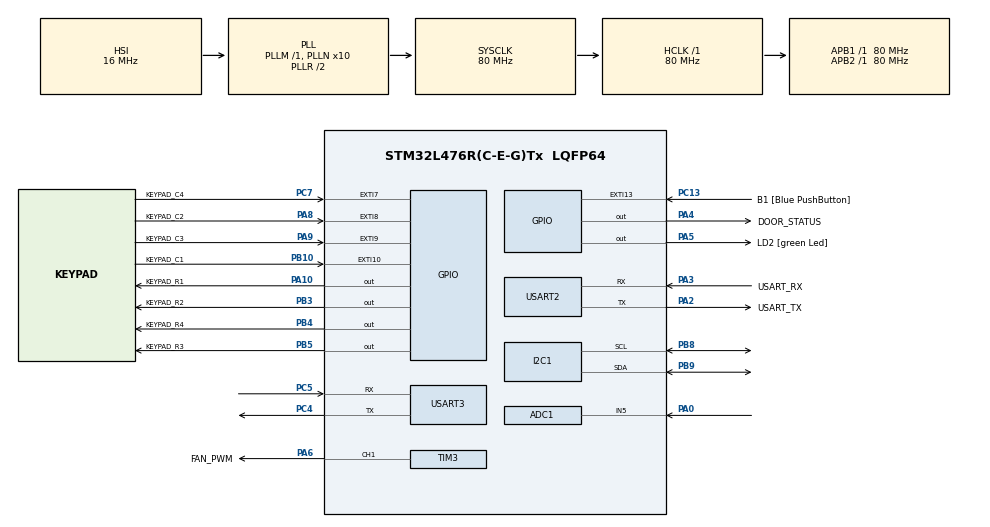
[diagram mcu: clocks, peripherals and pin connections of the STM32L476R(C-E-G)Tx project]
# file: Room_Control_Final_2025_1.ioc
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ADC1.Channel-0\#ChannelRegularConversion=ADC_CHANNEL_5
ADC1.NbrOfConversionFlag=1
ADC1.OffsetNumber-0\#ChannelRegularConversion=ADC_OFFSET_NONE
ADC1.Rank-0\#ChannelRegularConversion=1
ADC1.SamplingTime-0\#ChannelRegularConversion=ADC_SAMPLETIME_47CYCLES_5
ADC1.master=1
Dma.Request0=TIM3_CH1/TRIG
Dma.TIM3_CH1/TRIG.0.Direction=DMA_MEMORY_TO_PERIPH
Dma.TIM3_CH1/TRIG.0.Instance=DMA1_Channel6
Dma.TIM3_CH1/TRIG.0.MemDataAlignment=DMA_MDATAALIGN_WORD
Dma.TIM3_CH1/TRIG.0.MemInc=DMA_MINC_ENABLE
Dma.TIM3_CH1/TRIG.0.Mode=DMA_NORMAL
Dma.TIM3_CH1/TRIG.0.PeriphDataAlignment=DMA_PDATAALIGN_WORD
Dma.TIM3_CH1/TRIG.0.PeriphInc=DMA_PINC_DISABLE
Dma.TIM3_CH1/TRIG.0.Priority=DMA_PRIORITY_HIGH
I2C1.Timing=0x10D19CE4
Mcu.Family=STM32L4
Mcu.Name=STM32L476R(C-E-G)Tx
Mcu.Package=LQFP64
NVIC.DMA1_Channel6_IRQn=true\:2\:0\:true\:false\:true\:false\:true\:true
NVIC.EXTI15_10_IRQn=true\:3\:0\:true\:false\:true\:true\:true\:true
NVIC.EXTI9_5_IRQn=true\:3\:0\:true\:false\:true\:true\:true\:true
NVIC.PriorityGroup=NVIC_PRIORITYGROUP_4
NVIC.USART2_IRQn=true\:2\:0\:true\:false\:true\:true\:true\:true
NVIC.USART3_IRQn=true\:2\:0\:true\:false\:true\:true\:true\:true
PA0.Signal=ADCx_IN5
PA10.GPIO_Label=KEYPAD_R1
PA10.Signal=GPIO_Output
PA13\ (JTMS-SWDIO).GPIO_Label=TMS
PA13\ (JTMS-SWDIO).Mode=Serial_Wire
PA13\ (JTMS-SWDIO).Signal=SYS_JTMS-SWDIO
PA14\ (JTCK-SWCLK).GPIO_Label=TCK
PA14\ (JTCK-SWCLK).Mode=Serial_Wire
PA14\ (JTCK-SWCLK).Signal=SYS_JTCK-SWCLK
PA2.GPIO_Label=USART_TX
PA2.GPIO_Mode=GPIO_MODE_AF_PP
PA2.GPIO_PuPd=GPIO_NOPULL
PA2.GPIO_Speed=GPIO_SPEED_FREQ_VERY_HIGH
PA2.Mode=Asynchronous
PA2.Signal=USART2_TX
PA3.GPIO_Label=USART_RX
PA3.GPIO_Mode=GPIO_MODE_AF_PP
PA3.GPIO_PuPd=GPIO_NOPULL
PA3.GPIO_Speed=GPIO_SPEED_FREQ_VERY_HIGH
PA3.Mode=Asynchronous
PA3.Signal=USART2_RX
PA4.GPIO_Label=DOOR_STATUS
PA4.Signal=GPIO_Output
PA5.GPIO_Label=LD2 [green Led]
PA5.GPIO_ModeDefaultOutputPP=GPIO_MODE_OUTPUT_PP
PA5.GPIO_PuPd=GPIO_NOPULL
PA5.GPIO_Speed=GPIO_SPEED_FREQ_LOW
PA5.Signal=GPIO_Output
PA6.GPIO_Label=FAN_PWM
PA6.Signal=S_TIM3_CH1
PA8.GPIO_Label=KEYPAD_C2
PA8.GPIO_ModeDefaultEXTI=GPIO_MODE_IT_FALLING
PA8.GPIO_PuPd=GPIO_PULLUP
PA8.Signal=GPXTI8
PA9.GPIO_Label=KEYPAD_C3
PA9.GPIO_ModeDefaultEXTI=GPIO_MODE_IT_FALLING
PA9.GPIO_PuPd=GPIO_PULLUP
PA9.Signal=GPXTI9
PB10.GPIO_Label=KEYPAD_C1
PB10.GPIO_ModeDefaultEXTI=GPIO_MODE_IT_FALLING
PB10.GPIO_PuPd=GPIO_PULLUP
PB10.Signal=GPXTI10
PB3\ (JTDO-TRACESWO).GPIO_Label=KEYPAD_R2
PB3\ (JTDO-TRACESWO).Signal=GPIO_Output
PB4\ (NJTRST).GPIO_Label=KEYPAD_R4
PB4\ (NJTRST).Signal=GPIO_Output
PB5.GPIO_Label=KEYPAD_R3
PB5.Signal=GPIO_Output
PB8.Mode=I2C
PB8.Signal=I2C1_SCL
PB9.Mode=I2C
PB9.Signal=I2C1_SDA
PC13.GPIO_Label=B1 [Blue PushButton]
PC13.GPIO_ModeDefaultEXTI=GPIO_MODE_IT_FALLING
PC13.GPIO_PuPd=GPIO_NOPULL
PC13.Signal=GPXTI13
PC14-OSC32_IN\ (PC14).Mode=LSE-External-Oscillator
PC14-OSC32_IN\ (PC14).Signal=RCC_OSC32_IN
PC15-OSC32_OUT\ (PC15).Mode=LSE-External-Oscillator
PC15-OSC32_OUT\ (PC15).Signal=RCC_OSC32_OUT
PC4.Mode=Asynchronous
PC4.Signal=USART3_TX
PC5.Mode=Asynchronous
PC5.Signal=USART3_RX
PC7.GPIO_Label=KEYPAD_C4
PC7.GPIO_ModeDefaultEXTI=GPIO_MODE_IT_FALLING
PC7.GPIO_PuPd=GPIO_PULLUP
PC7.Signal=GPXTI7
PH0-OSC_IN\ (PH0).Signal=RCC_OSC_IN
PH1-OSC_OUT\ (PH1).Signal=RCC_OSC_OUT
ProjectManager.HeapSize=0x200
ProjectManager.StackSize=0x400
ProjectManager.TargetToolchain=CMake
RCC.ADCFreq_Value=64000000
RCC.AHBFreq_Value=80000000
RCC.APB1Freq_Value=80000000
RCC.APB1TimFreq_Value=80000000
RCC.APB2Freq_Value=80000000
RCC.APB2TimFreq_Value=80000000
RCC.CortexFreq_Value=80000000
RCC.HCLKFreq_Value=80000000
RCC.HSE_VALUE=8000000
RCC.HSI_VALUE=16000000
RCC.MSI_VALUE=4000000
RCC.PLLN=10
RCC.PLLSourceVirtual=RCC_PLLSOURCE_HSI
RCC.PREFETCH_ENABLE=1
RCC.SYSCLKFreq_VALUE=80000000
RCC.SYSCLKSource=RCC_SYSCLKSOURCE_PLLCLK
RCC.USBFreq_Value=64000000
RCC.VCOOutputFreq_Value=160000000
SH.ADCx_IN5.0=ADC1_IN5,IN5-Single-Ended
SH.S_TIM3_CH1.0=TIM3_CH1,PWM Generation1 CH1
TIM3.Channel-PWM\ Generation1\ CH1=TIM_CHANNEL_1
TIM3.Period=999
TIM3.Prescaler=799
USART2.VirtualMode-Asynchronous=VM_ASYNC
USART3.VirtualMode-Asynchronous=VM_ASYNC
board=NUCLEO-L476RG

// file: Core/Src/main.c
/* USER CODE BEGIN Header */
/**
  ******************************************************************************
  * @file           : main.c
  * @brief          : Main program body
  ******************************************************************************
  * @attention
  *
  * Copyright (c) 2025 STMicroelectronics.
  * All rights reserved.
  *
  * This software is licensed under terms that can be found in the LICENSE file
  * in the root directory of this software component.
  * If no LICENSE file comes with this software, it is provided AS-IS.
  *
  ******************************************************************************
  */
/* USER CODE END Header */
#include "main.h"

/* USER CODE BEGIN Includes */
#include "led.h"
#include "keypad.h"
#include "ring_buffer.h"
#include "room_control.h"
#include "sensor.h"
#include <stdio.h>
#include <string.h>
#include "ssd1306.h"
#include "ssd1306_fonts.h"

/* USER CODE END Includes */

ADC_HandleTypeDef hadc1;

I2C_HandleTypeDef hi2c1;

TIM_HandleTypeDef htim3;
DMA_HandleTypeDef hdma_tim3_ch1_trig;

UART_HandleTypeDef huart2;
UART_HandleTypeDef huart3;

/* USER CODE BEGIN PV */
adc_sensor_handle_t temp_sensor = { .hadc = &hadc1, .channel = ADC_CHANNEL_5 };
uint32_t finish_pwm=0;

uint8_t button_pressed = 0; // Flag to indicate if the button is pressed

uint8_t usart_2_rxbyte = 0; // Variable to hold received byte from UART3
uint16_t usart2_index = 0;

led_handle_t heartbeat_led = {
    .port = LD2_GPIO_Port,
    .pin = LD2_Pin
};

led_handle_t door_led = {
  .port = DOOR_STATUS_GPIO_Port,
  .pin = DOOR_STATUS_Pin
};
// Initialize door_led to RESET

keypad_handle_t keypad = {
    .row_ports = {KEYPAD_R1_GPIO_Port, KEYPAD_R2_GPIO_Port, KEYPAD_R3_GPIO_Port, KEYPAD_R4_GPIO_Port},
    .row_pins  = {KEYPAD_R1_Pin, KEYPAD_R2_Pin, KEYPAD_R3_Pin, KEYPAD_R4_Pin},
    .col_ports = {KEYPAD_C1_GPIO_Port, KEYPAD_C2_GPIO_Port, KEYPAD_C3_GPIO_Port, KEYPAD_C4_GPIO_Port},
    .col_pins  = {KEYPAD_C1_Pin, KEYPAD_C2_Pin, KEYPAD_C3_Pin, KEYPAD_C4_Pin}
};

#define KEYPAD_BUFFER_LEN 16
#define REFFRESH_TIME 100
#define RX_BUFFER_SIZE 200

volatile uint8_t rx3_byte;                // Byte temporal para recibir
char rx3_buffer[RX_BUFFER_SIZE]; // Buffer completo
uint8_t rx3_index = 0;           // Posición actual
uint8_t cmd_wifi_ready = 0;      // Bandera (1 = llegó comando, 0 = esperando)

uint8_t keypad_buffer[KEYPAD_BUFFER_LEN];
ring_buffer_t keypad_rb;

volatile uint16_t keypad_interrupt_pin = 0;
uint32_t last_dash_tick = 0; // Para envío periódico al dashboard
// Room control system instance
room_control_t room_system;
/* USER CODE END PV */

void SystemClock_Config(void);
static void MX_GPIO_Init(void);
static void MX_DMA_Init(void);
static void MX_USART2_UART_Init(void);
static void MX_I2C1_Init(void);
static void MX_TIM3_Init(void);
static void MX_ADC1_Init(void);
static void MX_USART3_UART_Init(void);

/* USER CODE BEGIN 0 */
/**
 * @brief  Write a character to the UART using printf().
*/

int _write(int file, char *ptr, int len)
{
  (void)file;
  HAL_UART_Transmit(&huart2, (uint8_t *)ptr, len, HAL_MAX_DELAY);
  return len;
}

void write_to_oled(char *message, SSD1306_COLOR color, uint8_t x, uint8_t y)
{
  ssd1306_SetCursor(x, y); // Set cursor to the specified position
  ssd1306_WriteString(message, Font_7x10, color);
  ssd1306_UpdateScreen(); // Update the display to show the message
}

void HAL_GPIO_EXTI_Callback(uint16_t GPIO_Pin)
{
  if (GPIO_Pin == B1_Pin) {
    button_pressed = 1; // Set the flag when the button is pressed
  } else {
    keypad_interrupt_pin = GPIO_Pin;
  }
}

void HAL_TIM_PWM_PulseFinishedCallback(TIM_HandleTypeDef *htim){
  if (htim->Instance==TIM3){
    finish_pwm=0;
  }
}
void HAL_UART_RxCpltCallback(UART_HandleTypeDef *huart)
{
  if (huart->Instance == USART2){
    if (usart_2_rxbyte == '\n' || usart_2_rxbyte== '\r') {
      if (usart2_index > 0) {

        rx3_buffer[usart2_index] = '\0';
        cmd_wifi_ready = 1;
        usart2_index = 0;
      }
    }
    else {
      if (usart2_index < RX_BUFFER_SIZE - 1) {
        rx3_buffer[usart2_index++] = usart_2_rxbyte;
      }
    }

    if (usart2_index >= RX_BUFFER_SIZE - 1) {
        usart2_index= 0; // Borrón y cuenta nueva
        memset(rx3_buffer, 0, RX_BUFFER_SIZE);

    }
    HAL_UART_Receive_IT(&huart2, (uint8_t*)&usart_2_rxbyte, 1);
  }

  if (huart->Instance == USART3) {

    // 1. Detectar fin de comando válido
    if (rx3_byte == '\n' || rx3_byte == '\r') {
      if (rx3_index > 0) {

          rx3_buffer[rx3_index] = '\0';
          cmd_wifi_ready = 1;
          rx3_index = 0;
      }
    }
    else {

      if (rx3_index < RX_BUFFER_SIZE - 1) {
        rx3_buffer[rx3_index++] = rx3_byte;
      }
    }

    if (rx3_index >= RX_BUFFER_SIZE - 1) {
        rx3_index = 0; // Borrón y cuenta nueva
        memset(rx3_buffer, 0, RX_BUFFER_SIZE);

    }

    HAL_UART_Receive_IT(&huart3, (uint8_t*)&rx3_byte, 1);
  }
}

void Procesar_Comandos_WiFi(void) {
    // Si no ha llegado nada completo, salimos inmediatamente
    if (cmd_wifi_ready == 0) return;

    char respuesta[100]; // Buffer para armar la respuesta

    printf("\r\nComando recibido\r\n");

    // -----------------------------------------------------------
    // COMANDO 1: GET_TEMP (Pedir temperatura)
    // -----------------------------------------------------------

    if (strstr(rx3_buffer, "GET_TEMP") != NULL) {

        float temp = room_control_get_temperature(&room_system);

        // Armar respuesta: "TEMP:25.50"
        sprintf(respuesta,"Temperatura: %d.%dC\r\n", (int)temp,(int)(temp*100)%100);

        // Enviar al WiFi (ESP-01)
        HAL_UART_Transmit(&huart3, (uint8_t*)respuesta, strlen(respuesta), 100);

        // Debug en PC
        printf("Respondiendo: %s", respuesta);
    }

    // -----------------------------------------------------------
    // COMANDO 2: GET_STATUS (Pedir estado del sistema)
    // -----------------------------------------------------------
    else if (strstr(rx3_buffer, "GET_STATUS") != NULL) {
        room_state_t state = room_control_get_state(&room_system);
        int fan = room_control_get_fan_level();
        float temp = room_control_get_temperature(&room_system);
        // Convertir enum a texto simple
        char *estado_txt = (state != ROOM_STATE_UNLOCKED) ? "BLOQUEADO" : "DESBLOQUEADO";
        if (state == ROOM_STATE_UNLOCKED){
          sprintf(respuesta, "ESTADO: %s FAN: %d TEMPERATURA: %d.%dC\r\n", estado_txt, fan,(int)temp,(int)(temp*100)%100);

          HAL_UART_Transmit(&huart3, (uint8_t*)respuesta, strlen(respuesta), 100);
          printf("Respondiendo: %s", respuesta);
        }else{
          sprintf(respuesta, "ESTADO: %s\r\n", estado_txt);

          HAL_UART_Transmit(&huart3, (uint8_t*)respuesta, strlen(respuesta), 100);
          printf("Respondiendo: %s", respuesta);
        }
    }

    // -----------------------------------------------------------
    // COMANDO 3: FORCE_FAN:N (Forzar ventilador 0-3)
    // -----------------------------------------------------------
    else if (strncmp(rx3_buffer, "FORCE_FAN:", 10) == 0) {
        // El número está en la posición 10 (después de los dos puntos)
        int nivel = rx3_buffer[10] - '0'; // Truco ASCII para convertir char a int
        room_control_force_fan_level(&room_system,nivel);

        sprintf(respuesta, "OK: FAN LEVEL %d\r\n", nivel);
        HAL_UART_Transmit(&huart3, (uint8_t*)respuesta, strlen(respuesta), 100);
        printf("Accion ejecutada: Fan a %d\r\n", nivel);
    }

    // -----------------------------------------------------------
    // COMANDO 4: SET_PASS:XXXX (Cambiar contraseña)
    // -----------------------------------------------------------
    else if (strncmp(rx3_buffer, "SET_PASS:", 9) == 0) {
        // El password empieza en la posición 9
        char *nuevo_pass = rx3_buffer + 9;

        // Validación básica de longitud
        if (strlen(nuevo_pass) == 4) {
             room_control_change_password(&room_system, nuevo_pass);

             HAL_UART_Transmit(&huart3, (uint8_t*)"OK: PASS CAMBIADO\r\n", 19, 100);
             printf("Password actualizado remotamente\r\n");
        }
    }
    else {
        printf("Comando desconocido.\r\n");
    }

    // -----------------------------------------------------------
    // LIMPIEZA FINAL
    // -----------------------------------------------------------
    cmd_wifi_ready = 0;                // Bajamos la bandera
    memset(rx3_buffer, 0, RX_BUFFER_SIZE); // Limpiamos el buffer por seguridad
}

void Send_Dashboard_Frame(void) // Enviar trama periódica al dashboard (zona de funciones de usuario)
{
    // Leer datos actuales del sistema
    float temp = room_control_get_temperature(&room_system);
    room_state_t state = room_control_get_state(&room_system);
    int fan = room_control_get_fan_level();

    const char *state_txt = (state != ROOM_STATE_UNLOCKED) ? "LOCKED" : "UNLOCKED";

    // Construir texto: T=25.50;STATE=UNLOCKED;FAN=2\r\n
    char buf[64];
    int temp_int = (int)temp;
    int temp_dec = (int)(temp * 100.0f) % 100;  // dos decimales

    sprintf(buf, "T=%d.%02d;STATE=%s;FAN=%d\r\n",
            temp_int,
            temp_dec,
            state_txt,
            fan);

    // Enviar por UART3 hacia el ESP01
    HAL_UART_Transmit(&huart3, (uint8_t*)buf, strlen(buf), 10);
}

void heartbeat(void)
{
  static uint32_t last_toggle = 0;
  if (HAL_GetTick() - last_toggle >= 500) { // Toggle every 500 ms
    led_toggle(&heartbeat_led); // Toggle the heartbeat LED
    last_toggle = HAL_GetTick();
  }
}

/* USER CODE END 0 */

int main(void)
{

  /* MCU Configuration--------------------------------------------------------*/

  /* Reset of all peripherals, Initializes the Flash interface and the Systick. */
  HAL_Init();

  /* Configure the system clock */
  SystemClock_Config();

  /* Initialize all configured peripherals */
  MX_GPIO_Init();
  MX_DMA_Init();
  MX_USART2_UART_Init();
  MX_I2C1_Init();
  MX_TIM3_Init();
  MX_ADC1_Init();
  MX_USART3_UART_Init();
  /* USER CODE BEGIN 2 */
  led_init(&heartbeat_led);
  led_init(&door_led);
  ssd1306_Init();
  HAL_UART_Receive_IT(&huart2, (uint8_t*)&usart_2_rxbyte, 1);
  HAL_UART_Receive_IT(&huart3,(uint8_t*)&rx3_byte,1);

  ring_buffer_init(&keypad_rb, keypad_buffer, KEYPAD_BUFFER_LEN);
  keypad_init(&keypad);
  adc_sensor_init(&temp_sensor);

  // TODO: TAREA - Descomentar cuando implementen la lógica del sistema
  room_control_init(&room_system);

  /* USER CODE END 2 */

  /* Infinite loop */
  /* USER CODE BEGIN WHILE */
  // Clear the display
  ssd1306_Fill(Black);
  write_to_oled("Bienvenido!", White, 17, 17);
  printf("Bienvenido!\r\n");
  delay_ms(1000);
  calculate_pwm_tables();

  while (1) {
    heartbeat(); // Call the heartbeat function to toggle the LED
    Procesar_Comandos_WiFi();
    // TODO: TAREA - Descomentar cuando implementen la máquina de estados
    room_control_update(&room_system);

    // DEMO: Keypad functionality - Remove when implementing room control logic
    if (keypad_interrupt_pin != 0) {
      char key = keypad_scan(&keypad, keypad_interrupt_pin);
      if (key != '\0') {
        //write_to_oled(&key, White, 31, 31);

        // TODO: TAREA - Descomentar para enviar teclas al sistema de control
        room_control_process_key(&room_system, key);
      }
      keypad_interrupt_pin = 0;
    }
      // --- NUEVO: envío periódico al dashboard cada 1000 ms ---
    uint32_t now = HAL_GetTick();
    if (now - last_dash_tick >= 500) { // cada 0.5 segundoS
        last_dash_tick = now;
        Send_Dashboard_Frame();

    }

    // DEMO: Button functionality - Remove when implementing room control logic
    if (button_pressed) {
      write_to_oled("Button Pressed!", White, 17, 17); // Display message on OLED
      button_pressed = 0; // Reset the flag
    }

    // DEMO: UART functionality - Remove when implementing room control logic
    if (usart_2_rxbyte != 0) {
      write_to_oled((char *)&usart_2_rxbyte, White, 31, 31); // Display received byte on OLED
      usart_2_rxbyte = 0; // Reset the received byte variable
    }

    // TODO: TAREA - Implementar procesamiento de comandos remotos
    // command_parser_process(); // Procesar comandos de UART2 y UART3

    // TODO: TAREA - Leer sensor de temperatura y actualizar sistema
    //float temperature = temperature_sensor_read(&temp_sensor);
    //room_control_set_temperature(&room_system, temperature);

    /* USER CODE END WHILE */

  }
}

void SystemClock_Config(void)
{
  RCC_OscInitTypeDef RCC_OscInitStruct = {0};
  RCC_ClkInitTypeDef RCC_ClkInitStruct = {0};

  /** Configure the main internal regulator output voltage
  */
  if (HAL_PWREx_ControlVoltageScaling(PWR_REGULATOR_VOLTAGE_SCALE1) != HAL_OK)
  {
    Error_Handler();
  }

  /** Initializes the RCC Oscillators according to the specified parameters
  * in the RCC_OscInitTypeDef structure.
  */
  RCC_OscInitStruct.OscillatorType = RCC_OSCILLATORTYPE_HSI;
  RCC_OscInitStruct.HSIState = RCC_HSI_ON;
  RCC_OscInitStruct.HSICalibrationValue = RCC_HSICALIBRATION_DEFAULT;
  RCC_OscInitStruct.PLL.PLLState = RCC_PLL_ON;
  RCC_OscInitStruct.PLL.PLLSource = RCC_PLLSOURCE_HSI;
  RCC_OscInitStruct.PLL.PLLM = 1;
  RCC_OscInitStruct.PLL.PLLN = 10;
  RCC_OscInitStruct.PLL.PLLP = RCC_PLLP_DIV7;
  RCC_OscInitStruct.PLL.PLLQ = RCC_PLLQ_DIV2;
  RCC_OscInitStruct.PLL.PLLR = RCC_PLLR_DIV2;
  if (HAL_RCC_OscConfig(&RCC_OscInitStruct) != HAL_OK)
  {
    Error_Handler();
  }

  /** Initializes the CPU, AHB and APB buses clocks
  */
  RCC_ClkInitStruct.ClockType = RCC_CLOCKTYPE_HCLK|RCC_CLOCKTYPE_SYSCLK
                              |RCC_CLOCKTYPE_PCLK1|RCC_CLOCKTYPE_PCLK2;
  RCC_ClkInitStruct.SYSCLKSource = RCC_SYSCLKSOURCE_PLLCLK;
  RCC_ClkInitStruct.AHBCLKDivider = RCC_SYSCLK_DIV1;
  RCC_ClkInitStruct.APB1CLKDivider = RCC_HCLK_DIV1;
  RCC_ClkInitStruct.APB2CLKDivider = RCC_HCLK_DIV1;

  if (HAL_RCC_ClockConfig(&RCC_ClkInitStruct, FLASH_LATENCY_4) != HAL_OK)
  {
    Error_Handler();
  }
}

static void MX_ADC1_Init(void)
{

  ADC_MultiModeTypeDef multimode = {0};
  ADC_ChannelConfTypeDef sConfig = {0};

  /** Common config
  */
  hadc1.Instance = ADC1;
  hadc1.Init.ClockPrescaler = ADC_CLOCK_ASYNC_DIV1;
  hadc1.Init.Resolution = ADC_RESOLUTION_12B;
  hadc1.Init.DataAlign = ADC_DATAALIGN_RIGHT;
  hadc1.Init.ScanConvMode = ADC_SCAN_DISABLE;
  hadc1.Init.EOCSelection = ADC_EOC_SINGLE_CONV;
  hadc1.Init.LowPowerAutoWait = DISABLE;
  hadc1.Init.ContinuousConvMode = DISABLE;
  hadc1.Init.NbrOfConversion = 1;
  hadc1.Init.DiscontinuousConvMode = DISABLE;
  hadc1.Init.ExternalTrigConv = ADC_SOFTWARE_START;
  hadc1.Init.ExternalTrigConvEdge = ADC_EXTERNALTRIGCONVEDGE_NONE;
  hadc1.Init.DMAContinuousRequests = DISABLE;
  hadc1.Init.Overrun = ADC_OVR_DATA_PRESERVED;
  hadc1.Init.OversamplingMode = DISABLE;
  if (HAL_ADC_Init(&hadc1) != HAL_OK)
  {
    Error_Handler();
  }

  /** Configure the ADC multi-mode
  */
  multimode.Mode = ADC_MODE_INDEPENDENT;
  if (HAL_ADCEx_MultiModeConfigChannel(&hadc1, &multimode) != HAL_OK)
  {
    Error_Handler();
  }

  /** Configure Regular Channel
  */
  sConfig.Channel = ADC_CHANNEL_5;
  sConfig.Rank = ADC_REGULAR_RANK_1;
  sConfig.SamplingTime = ADC_SAMPLETIME_47CYCLES_5;
  sConfig.SingleDiff = ADC_SINGLE_ENDED;
  sConfig.OffsetNumber = ADC_OFFSET_NONE;
  sConfig.Offset = 0;
  if (HAL_ADC_ConfigChannel(&hadc1, &sConfig) != HAL_OK)
  {
    Error_Handler();
  }

}

static void MX_I2C1_Init(void)
{

  hi2c1.Instance = I2C1;
  hi2c1.Init.Timing = 0x10D19CE4;
  hi2c1.Init.OwnAddress1 = 0;
  hi2c1.Init.AddressingMode = I2C_ADDRESSINGMODE_7BIT;
  hi2c1.Init.DualAddressMode = I2C_DUALADDRESS_DISABLE;
  hi2c1.Init.OwnAddress2 = 0;
  hi2c1.Init.OwnAddress2Masks = I2C_OA2_NOMASK;
  hi2c1.Init.GeneralCallMode = I2C_GENERALCALL_DISABLE;
  hi2c1.Init.NoStretchMode = I2C_NOSTRETCH_DISABLE;
  if (HAL_I2C_Init(&hi2c1) != HAL_OK)
  {
    Error_Handler();
  }

  /** Configure Analogue filter
  */
  if (HAL_I2CEx_ConfigAnalogFilter(&hi2c1, I2C_ANALOGFILTER_ENABLE) != HAL_OK)
  {
    Error_Handler();
  }

  /** Configure Digital filter
  */
  if (HAL_I2CEx_ConfigDigitalFilter(&hi2c1, 0) != HAL_OK)
  {
    Error_Handler();
  }

}

static void MX_TIM3_Init(void)
{

  TIM_MasterConfigTypeDef sMasterConfig = {0};
  TIM_OC_InitTypeDef sConfigOC = {0};

  htim3.Instance = TIM3;
  htim3.Init.Prescaler = 799;
  htim3.Init.CounterMode = TIM_COUNTERMODE_UP;
  htim3.Init.Period = 999;
  htim3.Init.ClockDivision = TIM_CLOCKDIVISION_DIV1;
  htim3.Init.AutoReloadPreload = TIM_AUTORELOAD_PRELOAD_DISABLE;
  if (HAL_TIM_PWM_Init(&htim3) != HAL_OK)
  {
    Error_Handler();
  }
  sMasterConfig.MasterOutputTrigger = TIM_TRGO_RESET;
  sMasterConfig.MasterSlaveMode = TIM_MASTERSLAVEMODE_DISABLE;
  if (HAL_TIMEx_MasterConfigSynchronization(&htim3, &sMasterConfig) != HAL_OK)
  {
    Error_Handler();
  }
  sConfigOC.OCMode = TIM_OCMODE_PWM1;
  sConfigOC.Pulse = 0;
  sConfigOC.OCPolarity = TIM_OCPOLARITY_HIGH;
  sConfigOC.OCFastMode = TIM_OCFAST_DISABLE;
  if (HAL_TIM_PWM_ConfigChannel(&htim3, &sConfigOC, TIM_CHANNEL_1) != HAL_OK)
  {
    Error_Handler();
  }
  HAL_TIM_MspPostInit(&htim3);

}

static void MX_USART2_UART_Init(void)
{

  huart2.Instance = USART2;
  huart2.Init.BaudRate = 115200;
  huart2.Init.WordLength = UART_WORDLENGTH_8B;
  huart2.Init.StopBits = UART_STOPBITS_1;
  huart2.Init.Parity = UART_PARITY_NONE;
  huart2.Init.Mode = UART_MODE_TX_RX;
  huart2.Init.HwFlowCtl = UART_HWCONTROL_NONE;
  huart2.Init.OverSampling = UART_OVERSAMPLING_16;
  huart2.Init.OneBitSampling = UART_ONE_BIT_SAMPLE_DISABLE;
  huart2.AdvancedInit.AdvFeatureInit = UART_ADVFEATURE_NO_INIT;
  if (HAL_UART_Init(&huart2) != HAL_OK)
  {
    Error_Handler();
  }

}

static void MX_USART3_UART_Init(void)
{

  huart3.Instance = USART3;
  huart3.Init.BaudRate = 115200;
  huart3.Init.WordLength = UART_WORDLENGTH_8B;
  huart3.Init.StopBits = UART_STOPBITS_1;
  huart3.Init.Parity = UART_PARITY_NONE;
  huart3.Init.Mode = UART_MODE_TX_RX;
  huart3.Init.HwFlowCtl = UART_HWCONTROL_NONE;
  huart3.Init.OverSampling = UART_OVERSAMPLING_16;
  huart3.Init.OneBitSampling = UART_ONE_BIT_SAMPLE_DISABLE;
  huart3.AdvancedInit.AdvFeatureInit = UART_ADVFEATURE_NO_INIT;
  if (HAL_UART_Init(&huart3) != HAL_OK)
  {
    Error_Handler();
  }

}

static void MX_DMA_Init(void)
{

  /* DMA controller clock enable */
  __HAL_RCC_DMA1_CLK_ENABLE();

  /* DMA interrupt init */
  /* DMA1_Channel6_IRQn interrupt configuration */
  HAL_NVIC_SetPriority(DMA1_Channel6_IRQn, 2, 0);
  HAL_NVIC_EnableIRQ(DMA1_Channel6_IRQn);

}

static void MX_GPIO_Init(void)
{
  GPIO_InitTypeDef GPIO_InitStruct = {0};

  /* GPIO Ports Clock Enable */
  __HAL_RCC_GPIOC_CLK_ENABLE();
  __HAL_RCC_GPIOH_CLK_ENABLE();
  __HAL_RCC_GPIOA_CLK_ENABLE();
  __HAL_RCC_GPIOB_CLK_ENABLE();

  /*Configure GPIO pin Output Level */
  HAL_GPIO_WritePin(GPIOA, DOOR_STATUS_Pin|LD2_Pin|KEYPAD_R1_Pin, GPIO_PIN_RESET);

  /*Configure GPIO pin Output Level */
  HAL_GPIO_WritePin(GPIOB, KEYPAD_R2_Pin|KEYPAD_R4_Pin|KEYPAD_R3_Pin, GPIO_PIN_RESET);

  /*Configure GPIO pin : B1_Pin */
  GPIO_InitStruct.Pin = B1_Pin;
  GPIO_InitStruct.Mode = GPIO_MODE_IT_FALLING;
  GPIO_InitStruct.Pull = GPIO_NOPULL;
  HAL_GPIO_Init(B1_GPIO_Port, &GPIO_InitStruct);

  /*Configure GPIO pins : DOOR_STATUS_Pin LD2_Pin KEYPAD_R1_Pin */
  GPIO_InitStruct.Pin = DOOR_STATUS_Pin|LD2_Pin|KEYPAD_R1_Pin;
  GPIO_InitStruct.Mode = GPIO_MODE_OUTPUT_PP;
  GPIO_InitStruct.Pull = GPIO_NOPULL;
  GPIO_InitStruct.Speed = GPIO_SPEED_FREQ_LOW;
  HAL_GPIO_Init(GPIOA, &GPIO_InitStruct);

  /*Configure GPIO pin : KEYPAD_C1_Pin */
  GPIO_InitStruct.Pin = KEYPAD_C1_Pin;
  GPIO_InitStruct.Mode = GPIO_MODE_IT_FALLING;
  GPIO_InitStruct.Pull = GPIO_PULLUP;
  HAL_GPIO_Init(KEYPAD_C1_GPIO_Port, &GPIO_InitStruct);

  /*Configure GPIO pin : KEYPAD_C4_Pin */
  GPIO_InitStruct.Pin = KEYPAD_C4_Pin;
  GPIO_InitStruct.Mode = GPIO_MODE_IT_FALLING;
  GPIO_InitStruct.Pull = GPIO_PULLUP;
  HAL_GPIO_Init(KEYPAD_C4_GPIO_Port, &GPIO_InitStruct);

  /*Configure GPIO pins : KEYPAD_C2_Pin KEYPAD_C3_Pin */
  GPIO_InitStruct.Pin = KEYPAD_C2_Pin|KEYPAD_C3_Pin;
  GPIO_InitStruct.Mode = GPIO_MODE_IT_FALLING;
  GPIO_InitStruct.Pull = GPIO_PULLUP;
  HAL_GPIO_Init(GPIOA, &GPIO_InitStruct);

  /*Configure GPIO pins : KEYPAD_R2_Pin KEYPAD_R4_Pin KEYPAD_R3_Pin */
  GPIO_InitStruct.Pin = KEYPAD_R2_Pin|KEYPAD_R4_Pin|KEYPAD_R3_Pin;
  GPIO_InitStruct.Mode = GPIO_MODE_OUTPUT_PP;
  GPIO_InitStruct.Pull = GPIO_NOPULL;
  GPIO_InitStruct.Speed = GPIO_SPEED_FREQ_LOW;
  HAL_GPIO_Init(GPIOB, &GPIO_InitStruct);

  /* EXTI interrupt init*/
  HAL_NVIC_SetPriority(EXTI9_5_IRQn, 3, 0);
  HAL_NVIC_EnableIRQ(EXTI9_5_IRQn);

  HAL_NVIC_SetPriority(EXTI15_10_IRQn, 3, 0);
  HAL_NVIC_EnableIRQ(EXTI15_10_IRQn);

}

void Error_Handler(void)
{
  __disable_irq();
  while (1)
  {
  }
}
